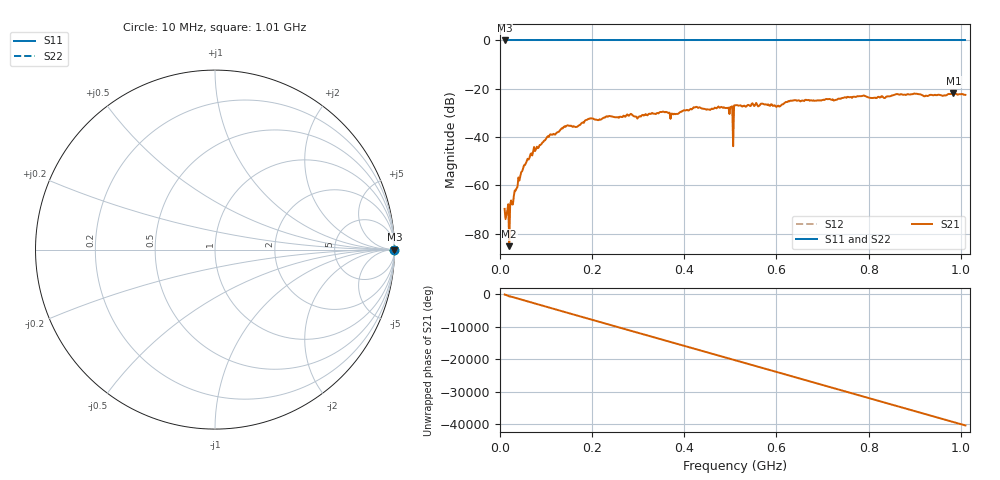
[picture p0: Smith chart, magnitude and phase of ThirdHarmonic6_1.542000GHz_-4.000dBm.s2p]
! 8/16/2025 6:17:06 PM
! C:\ANRITSUVNA\TEMP\TEMP.S2P
! CHANNEL.1
! TR.MEASUREMENT
! RAW.DATA
! RF.CORRECTION.OFF
! AVERAGING.OFF
! IF.BANDWIDTH: 5KHZ
! SWEEPTYPE:  FREQ.SWEEP(Linear)
! Reference Plane Port Info
! PORT:  PORT1  PORT2
! DISTANCE:  0  m  0  m
! TIME:  0  s  0  s
! PHASE.OFFSET:  0  deg.  0  deg.
! LOSS:  0  dB  0  dB
! REF.LOSS:  0  dB  0  dB
! REF.FREQ:  0  Hz  0  Hz
! Power Info
! POWER:  -20  dBm  -20  dBm
! EFF.POWER:  -20  dBm  -20  dBm
! SOURCE.ATTEN:  0  dB  0  dB
! TEST.ATTEN:  0  dB  0  dB
# GHZ S RI R 50.0
! FREQ.GHZ  S11RE  S11IM  S21RE  S21IM  S12RE  S12IM  S22RE  S22IM
!; PortSelection: Port_12
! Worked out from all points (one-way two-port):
!   501 points, 10 MHz to 1.01 GHz, reference 50 ohm
!   highest |S21| = -21.94 dB at 984 MHz (marker M1); lowest = -85.2 dB at 20 MHz (marker M2)
!   lowest |S11| = 0.0 dB at 10 MHz (marker M3)
!   |S11| at or under -10 dB: nowhere
!   |S22| runs from 0.0 to 0.0 dB; largest |S21 - S12| = 1.1
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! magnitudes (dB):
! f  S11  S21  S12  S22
! 10 MHz  0.0  -69.8  0.0  0.0
! 14 MHz  0.0  -72.2  0.0  0.0
! 16 MHz  0.0  -70.3  0.0  0.0
! 20 MHz  0.0  -85.2  0.0  0.0
! 24 MHz  0.0  -66.3  0.0  0.0
! 26 MHz  0.0  -67.9  0.0  0.0
! 48 MHz  0.0  -54.2  0.0  0.0
! 70 MHz  0.0  -47.6  0.0  0.0
! 106 MHz  0.0  -40.0  0.0  0.0
! 178 MHz  0.0  -34.1  0.0  0.0
! 196 MHz  0.0  -32.3  0.0  0.0
! 344 MHz  0.0  -30.2  0.0  0.0
! 478 MHz  0.0  -27.8  0.0  0.0
! 500 MHz  0.0  -27.6  0.0  0.0
! 502 MHz  0.0  -27.5  0.0  0.0
! 510 MHz  0.0  -26.9  0.0  0.0
! 512 MHz  0.0  -26.9  0.0  0.0
! 604 MHz  0.0  -27.0  0.0  0.0
! 678 MHz  0.0  -24.9  0.0  0.0
! 844 MHz  0.0  -23.1  0.0  0.0
! 984 MHz  0.0  -21.9  0.0  0.0
! 1.01 GHz  0.0  -22.5  0.0  0.0
